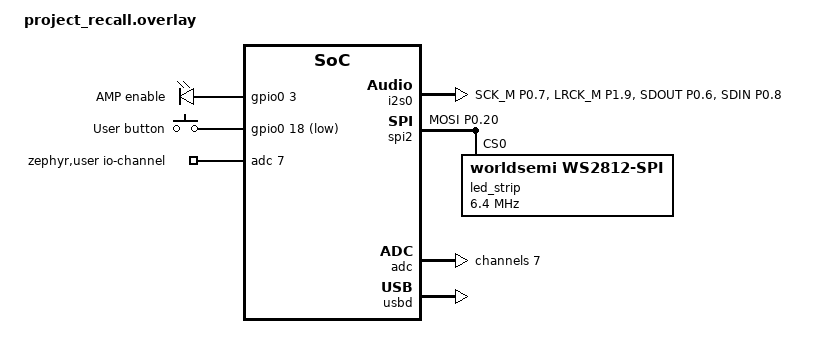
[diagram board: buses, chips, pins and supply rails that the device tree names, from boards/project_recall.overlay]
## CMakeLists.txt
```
cmake_minimum_required(VERSION 3.20.0)
find_package(Zephyr REQUIRED HINTS $ENV{ZEPHYR_BASE})
project(project_recall)

target_sources(app PRIVATE
	src/main.c
	src/app_state.c
	src/audio/audio_io.c
	src/audio/decimator.c
	src/audio/codec_adpcm.c
	src/audio/chime_data.c
	src/ble/ble_conn.c
	src/ble/ble_audio_svc.c
	src/ui/led_status.c
	src/ui/epd_ui.c
	src/power/battery.c
	src/power/charger.c
	src/power/pm.c
	src/util/ringbuf.c
	src/util/task_wdt_mgr.c
)

zephyr_include_directories(src)
```

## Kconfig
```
mainmenu "Project Recall"

config RECALL_SAMPLE_RATE_HZ
	int "I2S capture sample rate"
	default 32000

config RECALL_OUTPUT_RATE_HZ
	int "Output sample rate"
	default 16000

config RECALL_ADPCM_BLOCK_MS
	int "ADPCM block ms"
	default 20

config RECALL_PCM_BLOCK_SAMPLES
	int "Samples per ADPCM block"
	default 320

config RECALL_COMPRESSED_RING_SIZE
	int "Compressed ring buffer bytes"
	default 4096

config RECALL_ENABLE_PCM_RTT_DUMP
	bool "PCM RTT dump"
	default n

config RECALL_PHASE
	int "Build phase"
	default 8
	range 0 8

config RECALL_FW_VERSION_MAJOR
	int "Version major"
	default 0

config RECALL_FW_VERSION_MINOR
	int "Version minor"
	default 1

config RECALL_FW_VERSION_PATCH
	int "Version patch"
	default 0

config RECALL_HEARTBEAT_INTERVAL_SEC
	int "Heartbeat seconds"
	default 30

config RECALL_LOW_BATTERY_MV
	int "Low battery mV"
	default 3500

config RECALL_CUTOFF_BATTERY_MV
	int "Cutoff mV"
	default 3300

config RECALL_VBAT_DIVIDER_NUM
	int "VBAT divider num"
	default 2

config RECALL_VBAT_DIVIDER_DEN
	int "VBAT divider den"
	default 1

source "Kconfig.zephyr"
```

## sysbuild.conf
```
SB_CONFIG_BOOTLOADER_MCUBOOT=y
SB_CONFIG_PM_EXTERNAL_FLASH=n
```

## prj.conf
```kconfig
CONFIG_BT=y
CONFIG_BT_PERIPHERAL=y
CONFIG_BT_DEVICE_NAME="Recall"
CONFIG_BT_MAX_CONN=1
CONFIG_BT_GATT_DYNAMIC_NUM=0
CONFIG_BT_L2CAP_TX_MTU=247
CONFIG_BT_BUF_ACL_TX_SIZE=251
CONFIG_BT_BUF_ACL_RX_SIZE=251
CONFIG_BT_CTLR_DATA_LENGTH_MAX=251
CONFIG_BT_USER_PHY_UPDATE=y
CONFIG_BT_AUTO_PHY_UPDATE=y
CONFIG_BT_USER_DATA_LEN_UPDATE=y
CONFIG_BT_GAP_AUTO_UPDATE_CONN_PARAMS=y
CONFIG_BT_BAS=y
CONFIG_BT_SMP=y
CONFIG_BT_SETTINGS=y
CONFIG_SETTINGS=y
CONFIG_FLASH=y
CONFIG_FLASH_MAP=y
CONFIG_NVS=y

CONFIG_I2S=y
CONFIG_I2S_NRFX=y

CONFIG_DISPLAY=n

CONFIG_LED_STRIP=y
CONFIG_WS2812_STRIP=y
CONFIG_WS2812_STRIP_SPI=y
CONFIG_SPI=y

CONFIG_ADC=y
CONFIG_ADC_NRFX_SAADC=y

CONFIG_GPIO=y

CONFIG_PM=y
CONFIG_PM_DEVICE=y
CONFIG_PM_DEVICE_RUNTIME=y

CONFIG_USB_DEVICE_STACK=y
CONFIG_USB_DEVICE_PRODUCT="Project Recall"
CONFIG_USB_CDC_ACM=y
CONFIG_UART_LINE_CTRL=y

CONFIG_BOOTLOADER_MCUBOOT=y
CONFIG_MCUMGR=y
CONFIG_MCUMGR_TRANSPORT_BT=y
CONFIG_MCUMGR_GRP_IMG=y
CONFIG_MCUMGR_GRP_OS=y
CONFIG_IMG_MANAGER=y
CONFIG_STREAM_FLASH=y
CONFIG_IMG_ERASE_PROGRESSIVELY=y

CONFIG_WATCHDOG=y
CONFIG_TASK_WDT=y
CONFIG_TASK_WDT_CHANNELS=4
CONFIG_REBOOT=y

CONFIG_LOG=y
CONFIG_LOG_MODE_DEFERRED=y
CONFIG_USE_SEGGER_RTT=y
CONFIG_LOG_BACKEND_RTT=y
CONFIG_CONSOLE=y
CONFIG_RTT_CONSOLE=y

CONFIG_MAIN_STACK_SIZE=4096
CONFIG_SYSTEM_WORKQUEUE_STACK_SIZE=4096
CONFIG_HEAP_MEM_POOL_SIZE=8192

CONFIG_RECALL_PHASE=8
CONFIG_RECALL_SAMPLE_RATE_HZ=32000
CONFIG_RECALL_OUTPUT_RATE_HZ=16000
```

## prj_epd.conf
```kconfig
CONFIG_DISPLAY=y
CONFIG_SSD16XX=y
CONFIG_MIPI_DBI=y
```

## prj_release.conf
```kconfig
CONFIG_LOG=n
CONFIG_ASSERT=n
CONFIG_BOOT_BANNER=n
CONFIG_PRINTK=n
```

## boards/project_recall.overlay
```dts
&pinctrl {
	i2s0_default: i2s0_default {
		group1 {
			psels = <NRF_PSEL(I2S_SCK_M, 0, 7)>,
				<NRF_PSEL(I2S_LRCK_M, 1, 9)>,
				<NRF_PSEL(I2S_SDOUT, 0, 6)>,
				<NRF_PSEL(I2S_SDIN, 0, 8)>;
		};
	};

	spi1_default: spi1_default {
		group1 {
			psels = <NRF_PSEL(SPIM_SCK, 0, 24)>,
				<NRF_PSEL(SPIM_MOSI, 1, 0)>;
		};
	};

	spi2_default: spi2_default {
		group1 {
			psels = <NRF_PSEL(SPIM_MOSI, 0, 20)>;
		};
	};
};

&i2s0 {
	status = "okay";
	pinctrl-0 = <&i2s0_default>;
	pinctrl-names = "default";
};

&spi1 {
	status = "disabled";
};

&spi2 {
	compatible = "nordic,nrf-spim";
	status = "okay";
	pinctrl-0 = <&spi2_default>;
	pinctrl-names = "default";

	led_strip: ws2812@0 {
		compatible = "worldsemi,ws2812-spi";
		reg = <0>;
		spi-max-frequency = <6400000>;
		chain-length = <1>;
		color-mapping = <LED_COLOR_ID_GREEN LED_COLOR_ID_RED LED_COLOR_ID_BLUE>;
		spi-one-frame = <0x70>;
		spi-zero-frame = <0x40>;
		reset-delay = <80>;
	};
};

/ {
	aliases {
		led-strip = &led_strip;
	};

	chosen {
		zephyr,console = &cdc_acm_uart0;
	};

	recall_hw {
		compatible = "gpio-leds";
		amp_en: amp_en {
			gpios = <&gpio0 3 GPIO_ACTIVE_HIGH>;
			label = "AMP enable";
		};
	};

	recall_keys {
		compatible = "gpio-keys";
		user_btn: user_btn {
			gpios = <&gpio0 18 (GPIO_PULL_UP | GPIO_ACTIVE_LOW)>;
			label = "User button";
		};
	};

	zephyr,user {
		io-channels = <&adc 7>;
	};
};

&adc {
	status = "okay";
	#address-cells = <1>;
	#size-cells = <0>;

	channel@7 {
		reg = <7>;
		zephyr,gain = "ADC_GAIN_1_6";
		zephyr,reference = "ADC_REF_INTERNAL";
		zephyr,acquisition-time = <ADC_ACQ_TIME(ADC_ACQ_TIME_MICROSECONDS, 40)>;
		zephyr,input-positive = <NRF_SAADC_AIN7>;
		zephyr,resolution = <12>;
	};
};

&usbd {
	status = "okay";
	cdc_acm_uart0: cdc_acm_uart0 {
		compatible = "zephyr,cdc-acm-uart";
	};
};
```

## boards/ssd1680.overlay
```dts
&pinctrl {
	spi1_default: spi1_default {
		group1 {
			psels = <NRF_PSEL(SPIM_SCK, 0, 24)>,
				<NRF_PSEL(SPIM_MOSI, 1, 0)>;
		};
	};
};

&spi1 {
	compatible = "nordic,nrf-spim";
	status = "okay";
	pinctrl-0 = <&spi1_default>;
	pinctrl-names = "default";
	cs-gpios = <&gpio0 22 GPIO_ACTIVE_LOW>;

	mipi_dbi_epd: mipi-dbi {
		compatible = "zephyr,mipi-dbi-spi";
		spi-dev = <&spi1>;
		dc-gpios = <&gpio0 13 GPIO_ACTIVE_HIGH>;
		reset-gpios = <&gpio1 4 GPIO_ACTIVE_LOW>;
		#address-cells = <1>;
		#size-cells = <0>;

		epd: ssd1680@0 {
			compatible = "solomon,ssd1680";
			reg = <0>;
			mipi-max-frequency = <4000000>;
			width = <200>;
			height = <200>;
			busy-gpios = <&gpio1 6 GPIO_ACTIVE_HIGH>;
		};
	};
};

/ {
	chosen {
		zephyr,display = &epd;
	};
};
```

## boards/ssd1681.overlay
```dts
&pinctrl {
	spi1_default: spi1_default {
		group1 {
			psels = <NRF_PSEL(SPIM_SCK, 0, 24)>,
				<NRF_PSEL(SPIM_MOSI, 1, 0)>;
		};
	};
};

&spi1 {
	compatible = "nordic,nrf-spim";
	status = "okay";
	pinctrl-0 = <&spi1_default>;
	pinctrl-names = "default";
	cs-gpios = <&gpio0 22 GPIO_ACTIVE_LOW>;

	mipi_dbi_epd: mipi-dbi {
		compatible = "zephyr,mipi-dbi-spi";
		spi-dev = <&spi1>;
		dc-gpios = <&gpio0 13 GPIO_ACTIVE_HIGH>;
		reset-gpios = <&gpio1 4 GPIO_ACTIVE_LOW>;
		#address-cells = <1>;
		#size-cells = <0>;

		epd: ssd1681@0 {
			compatible = "solomon,ssd1681";
			reg = <0>;
			mipi-max-frequency = <4000000>;
			width = <200>;
			height = <200>;
			busy-gpios = <&gpio1 6 GPIO_ACTIVE_HIGH>;
		};
	};
};

/ {
	chosen {
		zephyr,display = &epd;
	};
};
```

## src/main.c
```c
#include "app_state.h"
#include "audio/audio_io.h"
#include "audio/chime_data.h"
#include "audio/codec_adpcm.h"
#include "audio/decimator.h"
#include "ble/ble_audio_svc.h"
#include "ble/ble_conn.h"
#include "power/battery.h"
#include "power/charger.h"
#include "power/pm.h"
#include "ui/epd_ui.h"
#include "ui/led_status.h"
#include "util/ringbuf.h"
#include "util/task_wdt_mgr.h"

#include <zephyr/kernel.h>
#include <zephyr/logging/log.h>
#include <zephyr/settings/settings.h>

#if defined(CONFIG_MCUBOOT)
#include <zephyr/dfu/mcuboot.h>
#endif

LOG_MODULE_REGISTER(main, CONFIG_LOG_DEFAULT_LEVEL);

#define PCM_PER_BLOCK CONFIG_RECALL_PCM_BLOCK_SAMPLES
#define ADPCM_PKT     (ADPCM_BLOCK_HEADER_SIZE + (PCM_PER_BLOCK + 1) / 2 + 2)

static K_THREAD_STACK_DEFINE(cap_stack, 4096);
static K_THREAD_STACK_DEFINE(tx_stack, 4096);
static struct k_thread cap_tid;
static struct k_thread tx_tid;

static uint8_t comp_buf[CONFIG_RECALL_COMPRESSED_RING_SIZE];
static uint8_t notify_pkt[244];
static struct adpcm_state adpcm;

static int wdt_main, wdt_cap, wdt_tx;
static bool live;
static uint16_t seq;
static uint32_t beat_secs = CONFIG_RECALL_HEARTBEAT_INTERVAL_SEC;

static void refresh_ui(enum app_state s)
{
	if (pm_allow_ui_refresh()) {
		led_status_apply_state(s);
		epd_ui_apply_state(s);
	}
}

static void on_state(enum app_state prev, enum app_state next)
{
	ARG_UNUSED(prev);
	refresh_ui(next);
	recall_status_update();
}

static void on_link(bool up)
{
	if (up) {
		app_state_post_event(APP_EVT_BLE_CONNECTED);
	} else {
		live = false;
		ringbuf_reset();
		app_state_post_event(APP_EVT_BLE_DISCONNECTED);
		ble_conn_start_advertising();
	}
}

static void on_ctrl(uint8_t cmd, const uint8_t *data, size_t len)
{
	switch (cmd) {
	case 0x01:
		live = true;
		pm_heartbeat_begin();
		app_state_post_event(APP_EVT_STREAM_START);
		audio_io_capture_start();
		break;
	case 0x02:
		live = false;
		pm_heartbeat_end();
		app_state_post_event(APP_EVT_STREAM_STOP);
		break;
	case 0x03:
		app_state_post_event(APP_EVT_ALERT);
		audio_io_play_chime(chime_pcm, chime_pcm_samples);
		break;
	case 0x04:
		recall_status_update();
		break;
	case 0x05:
		if (len >= 1) {
			beat_secs = data[0];
		}
		break;
	}
}

static int enqueue_block(const uint8_t *block, size_t len)
{
	if (ringbuf_free() < len) {
		ringbuf_drop_oldest(len);
		app_state_buffer_loss_inc();
	}
	return ringbuf_put(block, len);
}

static void capture_fn(void *a, void *b, void *c)
{
	int16_t raw[320];
	int16_t half[160];
	int16_t block[PCM_PER_BLOCK];
	size_t fill = 0;

	ARG_UNUSED(a);
	ARG_UNUSED(b);
	ARG_UNUSED(c);

	codec_adpcm_reset_state(&adpcm);
	decimator_reset();

	for (;;) {
		task_wdt_mgr_feed(wdt_cap);

		if (!live) {
			k_sleep(K_MSEC(50));
			continue;
		}

		int n = audio_io_capture_read(raw, ARRAY_SIZE(raw), K_MSEC(200));
		if (n <= 0) {
			continue;
		}

		size_t got = decimator_process(raw, n, half, ARRAY_SIZE(half));
		for (size_t i = 0; i < got; i++) {
			block[fill++] = half[i];
			if (fill < PCM_PER_BLOCK) {
				continue;
			}

			uint8_t pkt[ADPCM_PKT];
			size_t enc = codec_adpcm_encode_block(block, PCM_PER_BLOCK, pkt, sizeof(pkt), &adpcm);

			if (enc) {
				enqueue_block(pkt, enc);
			}
			fill = 0;
		}
	}
}

static void ble_tx_fn(void *a, void *b, void *c)
{
	ARG_UNUSED(a);
	ARG_UNUSED(b);
	ARG_UNUSED(c);

	for (;;) {
		task_wdt_mgr_feed(wdt_tx);

		if (!live || !ble_conn_is_connected()) {
			k_sleep(K_MSEC(20));
			continue;
		}

		if (ringbuf_available() < ADPCM_PKT) {
			k_sleep(K_MSEC(5));
			continue;
		}

		notify_pkt[0] = seq;
		notify_pkt[1] = seq >> 8;
		ringbuf_get(&notify_pkt[2], ADPCM_PKT - 2);

		int err = recall_audio_notify_block(notify_pkt, ADPCM_PKT);
		if (err == -ENOMEM) {
			k_sleep(K_MSEC(10));
		} else if (!err) {
			seq++;
		}
	}
}
static void tick_fn(struct k_work *work);
static K_WORK_DELAYABLE_DEFINE(tick_work, tick_fn);

static void tick_fn(struct k_work *work)
{
	int32_t mv;
	uint8_t soc;

	ARG_UNUSED(work);
	task_wdt_mgr_feed(wdt_main);

	switch (charger_read_state()) {
	case CHARGER_CHARGING:
		app_state_post_event(APP_EVT_CHARGING);
		break;
	case CHARGER_COMPLETE:
		app_state_post_event(APP_EVT_CHARGE_COMPLETE);
		break;
	default:
		app_state_post_event(APP_EVT_NOT_CHARGING);
		break;
	}

	if (!battery_read_mv(&mv)) {
		battery_read_soc(&soc);
		battery_update_bas();
		if (mv < CONFIG_RECALL_CUTOFF_BATTERY_MV) {
			live = false;
			app_state_post_event(APP_EVT_LOW_BATTERY);
		} else if (mv < CONFIG_RECALL_LOW_BATTERY_MV) {
			app_state_post_event(APP_EVT_LOW_BATTERY);
		} else {
			app_state_post_event(APP_EVT_BATTERY_OK);
		}
	}

	if (!live && !ble_conn_is_connected()) {
		led_status_cycle_demo();
	}

	k_work_schedule(&tick_work, K_SECONDS(2));
}

static void confirm_image(void)
{
#if defined(CONFIG_MCUBOOT)
	if (!boot_is_img_confirmed()) {
		boot_write_img_confirmed();
	}
#endif
}

int main(void)
{
	LOG_INF("recall %d.%d.%d",
		CONFIG_RECALL_FW_VERSION_MAJOR,
		CONFIG_RECALL_FW_VERSION_MINOR,
		CONFIG_RECALL_FW_VERSION_PATCH);

	confirm_image();
	ringbuf_init(comp_buf, sizeof(comp_buf));
	task_wdt_mgr_init();
	wdt_main = task_wdt_mgr_add("main", K_SECONDS(30));
	wdt_cap = task_wdt_mgr_add("capture", K_SECONDS(5));
	wdt_tx = task_wdt_mgr_add("ble_tx", K_SECONDS(5));

	app_state_init(on_state);
	led_status_init();
	epd_ui_init();
	audio_io_init();
	decimator_init();
	codec_adpcm_init();
	battery_init();
	charger_init();
	pm_init();

	settings_load();
	ble_conn_init();
	ble_conn_set_event_callback(on_link);
	ble_audio_svc_init(on_ctrl);

	ble_conn_start_advertising();
	app_state_post_event(APP_EVT_BOOT_DONE);
	refresh_ui(APP_STATE_BOOT);

	k_work_schedule(&tick_work, K_SECONDS(1));

	k_thread_create(&cap_tid, cap_stack, K_THREAD_STACK_SIZEOF(cap_stack),
			capture_fn, NULL, NULL, NULL, 5, 0, K_NO_WAIT);
	k_thread_name_set(&cap_tid, "capture");

	k_thread_create(&tx_tid, tx_stack, K_THREAD_STACK_SIZEOF(tx_stack),
			ble_tx_fn, NULL, NULL, NULL, 6, 0, K_NO_WAIT);
	k_thread_name_set(&tx_tid, "ble_tx");

	for (;;) {
		task_wdt_mgr_feed(wdt_main);
		if (!live && !ble_conn_is_connected()) {
			pm_idle_until_next_heartbeat(beat_secs);
		} else {
			k_sleep(K_SECONDS(1));
		}
	}
}
```

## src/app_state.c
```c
#include "app_state.h"

#include <zephyr/kernel.h>
#include <zephyr/logging/log.h>

LOG_MODULE_REGISTER(app_state, CONFIG_LOG_DEFAULT_LEVEL);

static enum app_state current_state = APP_STATE_BOOT;
static app_state_listener_t state_listener;
static uint32_t buffer_loss_count;
static struct k_work state_work;
static enum app_event pending_event;
static K_MUTEX_DEFINE(state_lock);

static enum app_state map_event(enum app_state cur, enum app_event evt)
{
	switch (evt) {
	case APP_EVT_BOOT_DONE:
		return APP_STATE_ADVERTISING;
	case APP_EVT_BLE_CONNECTED:
		return APP_STATE_CONNECTED;
	case APP_EVT_BLE_DISCONNECTED:
		return APP_STATE_ADVERTISING;
	case APP_EVT_STREAM_START:
		return APP_STATE_STREAMING;
	case APP_EVT_STREAM_STOP:
		return APP_STATE_CONNECTED;
	case APP_EVT_ALERT:
		return APP_STATE_ALERT;
	case APP_EVT_CHARGING:
		return APP_STATE_CHARGING;
	case APP_EVT_CHARGE_COMPLETE:
		return APP_STATE_CHARGE_COMPLETE;
	case APP_EVT_NOT_CHARGING:
		if (cur == APP_STATE_CHARGING || cur == APP_STATE_CHARGE_COMPLETE) {
			return APP_STATE_ADVERTISING;
		}
		return cur;
	case APP_EVT_LOW_BATTERY:
		return APP_STATE_LOW_BATTERY;
	case APP_EVT_BATTERY_OK:
		if (cur == APP_STATE_LOW_BATTERY) {
			return APP_STATE_ADVERTISING;
		}
		return cur;
	case APP_EVT_FAULT:
		return APP_STATE_FAULT;
	default:
		return cur;
	}
}

static void state_work_handler(struct k_work *work)
{
	enum app_state prev;
	enum app_event evt;

	ARG_UNUSED(work);

	k_mutex_lock(&state_lock, K_FOREVER);
	evt = pending_event;
	prev = current_state;
	current_state = map_event(current_state, evt);
	k_mutex_unlock(&state_lock);

	if (prev != current_state && state_listener) {
		LOG_INF("%d -> %d", prev, current_state);
		state_listener(prev, current_state);
	}
}

int app_state_init(app_state_listener_t listener)
{
	state_listener = listener;
	k_work_init(&state_work, state_work_handler);
	return 0;
}

void app_state_post_event(enum app_event evt)
{
	k_mutex_lock(&state_lock, K_FOREVER);
	pending_event = evt;
	k_mutex_unlock(&state_lock);
	k_work_submit(&state_work);
}

enum app_state app_state_current(void)
{
	enum app_state s;

	k_mutex_lock(&state_lock, K_FOREVER);
	s = current_state;
	k_mutex_unlock(&state_lock);
	return s;
}

bool app_state_is_streaming(void)
{
	return app_state_current() == APP_STATE_STREAMING;
}

uint32_t app_state_buffer_loss_get(void)
{
	return buffer_loss_count;
}

void app_state_buffer_loss_inc(void)
{
	buffer_loss_count++;
}
```

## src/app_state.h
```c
#pragma once

enum app_state {
	APP_STATE_BOOT = 0,
	APP_STATE_ADVERTISING,
	APP_STATE_CONNECTED,
	APP_STATE_STREAMING,
	APP_STATE_ALERT,
	APP_STATE_CHARGING,
	APP_STATE_CHARGE_COMPLETE,
	APP_STATE_LOW_BATTERY,
	APP_STATE_FAULT,
};

enum app_event {
	APP_EVT_BOOT_DONE = 0,
	APP_EVT_BLE_CONNECTED,
	APP_EVT_BLE_DISCONNECTED,
	APP_EVT_STREAM_START,
	APP_EVT_STREAM_STOP,
	APP_EVT_ALERT,
	APP_EVT_CHARGING,
	APP_EVT_CHARGE_COMPLETE,
	APP_EVT_NOT_CHARGING,
	APP_EVT_LOW_BATTERY,
	APP_EVT_BATTERY_OK,
	APP_EVT_FAULT,
};

typedef void (*app_state_listener_t)(enum app_state prev, enum app_state next);

int app_state_init(app_state_listener_t listener);
void app_state_post_event(enum app_event evt);
enum app_state app_state_current(void);
bool app_state_is_streaming(void);
uint32_t app_state_buffer_loss_get(void);
void app_state_buffer_loss_inc(void);
```
